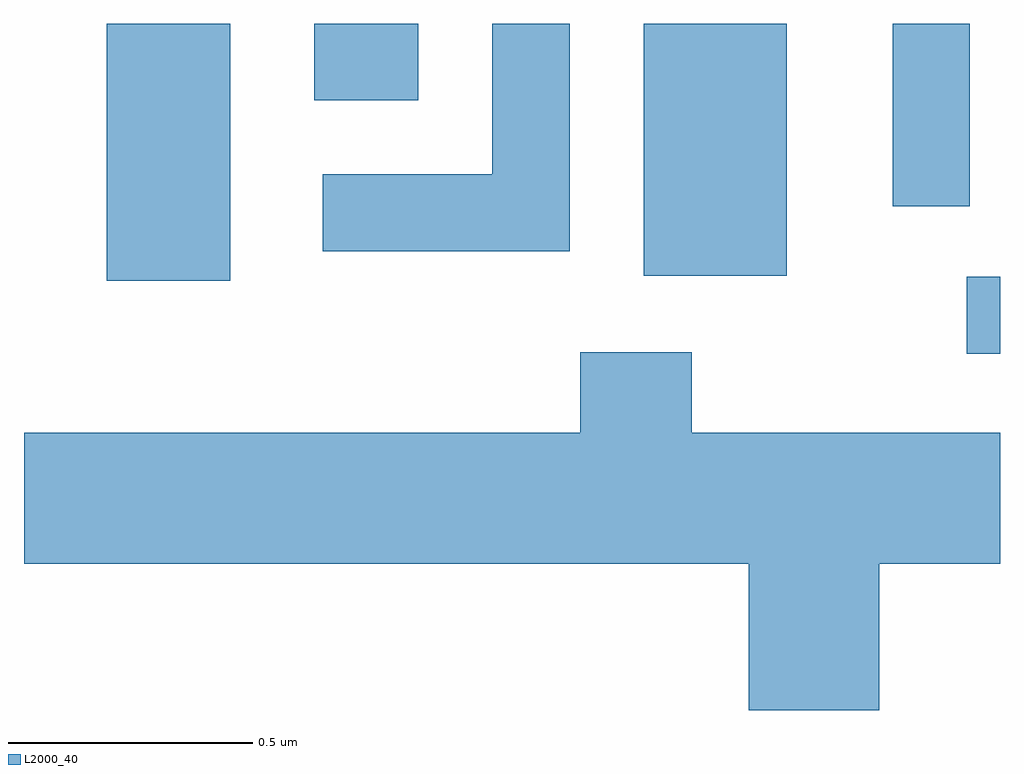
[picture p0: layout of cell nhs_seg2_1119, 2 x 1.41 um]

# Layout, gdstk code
import gdstk
lib = gdstk.Library(unit=1e-6, precision=1e-09)
def R(c, l, rs):  # rectangles x0, y0, x1, y1
    for r in rs: c.add(gdstk.rectangle(r[:2], r[2:], *l))
def P(c, l, *ps):  # polygons
    for p in ps: c.add(gdstk.Polygon(p, *l))
L2000_40 = (2000, 40)

nhs_seg2_1119 = lib.new_cell('nhs_seg2_1119')
R(nhs_seg2_1119, L2000_40, [(195.543,1002.126,195.611,1002.284), (193.781,1002.276,194.034,1002.802), (194.881,1002.286,195.174,1002.802), (195.391,1002.428,195.549,1002.802), (194.206,1002.646,194.419,1002.802)])
P(nhs_seg2_1119, L2000_40, [(194.729,1002.802),(194.571,1002.802),(194.571,1002.494),(194.223,1002.494),(194.223,1002.336),(194.729,1002.336)],
  [(195.364,1001.696),(195.611,1001.696),(195.611,1001.964),(194.979,1001.964),(194.979,1002.129),(194.751,1002.129),(194.751,1001.964),(193.611,1001.964),(193.611,1001.696),(195.096,1001.696),(195.096,1001.396),(195.364,1001.396)])

lib.write_gds('nhs_seg2_1119.gds')
